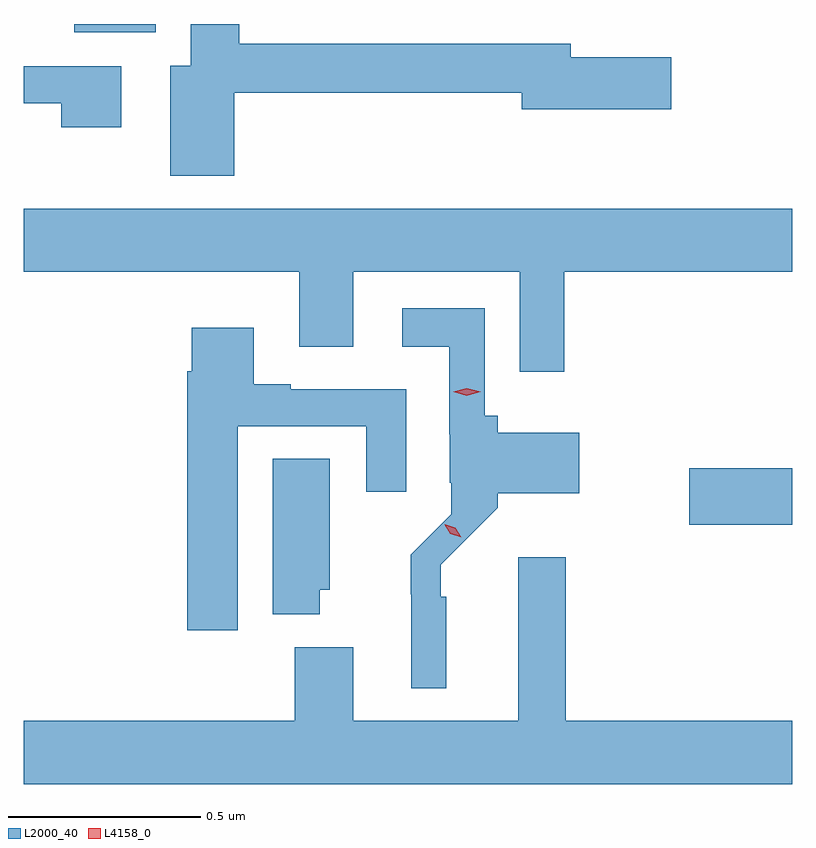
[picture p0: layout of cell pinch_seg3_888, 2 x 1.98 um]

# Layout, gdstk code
import gdstk
lib = gdstk.Library(unit=1e-6, precision=1e-09)
def R(c, l, rs):  # rectangles x0, y0, x1, y1
    for r in rs: c.add(gdstk.rectangle(r[:2], r[2:], *l))
def P(c, l, *ps):  # polygons
    for p in ps: c.add(gdstk.Polygon(p, *l))
L2000_40 = (2000, 40)
L4158_0 = (4158, 0)

pinch_seg3_888 = lib.new_cell('pinch_seg3_888')
R(pinch_seg3_888, L2000_40, [(680.154,706.919,680.422,707.066), (678.554,708.2,678.766,708.221)])
P(pinch_seg3_888, L2000_40, [(678.97,708.042),(679.718,708.042),(679.718,707.999),(680.107,707.999),(680.107,708.134),(679.846,708.134),(679.846,708.17),(678.983,708.17),(678.983,708.221),(678.857,708.221),(678.857,708.112),(678.803,708.112),(678.803,707.826),(678.97,707.826)],
  [(678.676,708.111),(678.422,708.111),(678.422,708.015),(678.52,708.015),(678.52,707.952),(678.676,707.952)],
  [(679.829,707.576),(680.422,707.576),(680.422,707.74),(678.422,707.74),(678.422,707.576),(679.139,707.576),(679.139,707.382),(679.279,707.382),(679.279,707.576),(679.713,707.576),(679.713,707.316),(679.829,707.316)],
  [(679.521,706.731),(679.507,706.731),(679.507,706.814),(679.655,706.962),(679.655,707),(679.867,707),(679.867,707.158),(679.655,707.158),(679.655,707.202),(679.622,707.202),(679.622,707.482),(679.407,707.482),(679.407,707.381),(679.529,707.381),(679.529,707.154),(679.53,707.154),(679.53,707.027),(679.535,707.027),(679.535,706.946),(679.429,706.84),(679.429,706.738),(679.43,706.738),(679.43,706.493),(679.521,706.493)],
  [(678.979,707.175),(679.313,707.175),(679.313,707.004),(679.417,707.004),(679.417,707.271),(679.117,707.271),(679.117,707.284),(679.021,707.284),(679.021,707.431),(678.86,707.431),(678.86,707.318),(678.848,707.318),(678.848,706.644),(678.979,706.644)],
  [(679.192,706.749),(679.219,706.749),(679.219,707.09),(679.07,707.09),(679.07,706.685),(679.192,706.685)],
  [(680.422,706.408),(679.832,706.408),(679.832,706.834),(679.709,706.834),(679.709,706.408),(679.279,706.408),(679.279,706.6),(679.127,706.6),(679.127,706.408),(678.422,706.408),(678.422,706.244),(680.422,706.244)])
P(pinch_seg3_888, L4158_0, [(679.575,707.254),(679.54,707.264),(679.539,707.264),(679.54,707.264),(679.575,707.274),(679.611,707.265),(679.611,707.265),(679.611,707.264)],
  [(679.56,706.886),(679.532,706.895),(679.517,706.919),(679.517,706.92),(679.517,706.92),(679.545,706.911),(679.56,706.886),(679.56,706.886)])

lib.write_gds('pinch_seg3_888.gds')
